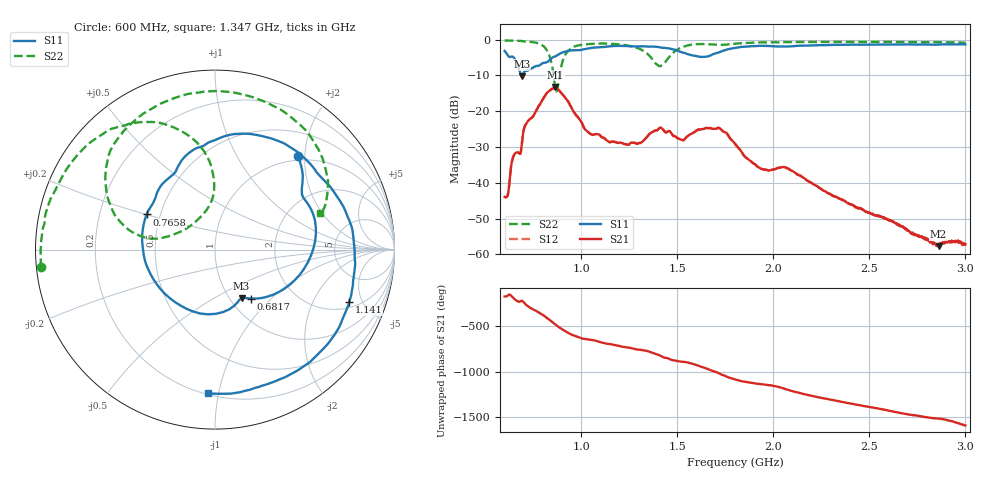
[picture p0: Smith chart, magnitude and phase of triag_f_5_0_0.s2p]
#  HZ  S  RI  R  50.00
! Rohde & Schwarz ZVB8 2Ports - Version 2.81 - 1145.1010k08 SN: 100113
! Date: 2016-05-03 01:37:25
! Measurements: S11 S21 S12 S22
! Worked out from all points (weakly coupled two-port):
!   1000 points, 600 MHz to 3 GHz, reference 50 ohm
!   highest |S21| = -13.24 dB at 864.3 MHz (marker M1); lowest = -57.7 dB at 2.861 GHz (marker M2)
!   lowest |S11| = -10.2 dB at 688.9 MHz (marker M3), VSWR 1.89, Z = 56.7 - j33.8 ohm
!   |S11| at or under -10 dB: 685.7 MHz to 693 MHz (7.292 MHz wide, 1.06 % of centre)
!   |S22| runs from -14.5 to -0.2 dB; largest |S21 - S12| = 0.0016
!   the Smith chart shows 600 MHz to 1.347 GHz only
!   S11 on the Smith chart (normalised r, x): 600 MHz: 0.92, +1.86; 681.7 MHz: 1.24, -0.76; 765.8 MHz: 0.42, +0.20; 1.141 GHz: 2.36, -3.91; 1.347 GHz: 0.21, -0.93
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6e8  0.4632 0.5197  -0.00633 -0.000654  -0.00635 -0.000677  -0.9691 -0.098
6.48048e8  0.557 0.0424  -0.0232 0.00689  -0.0231 0.00676  -0.9587 0.1213
6.816817e8  0.1998 -0.2725  -0.0166 0.0193  -0.0167 0.0192  -0.9199 0.2728
6.888889e8  0.1483 -0.2701  -0.0249 0.022  -0.0251 0.0216  -0.9037 0.3048
7.297297e8  -0.3433 -0.1647  0.0314 0.0702  0.0301 0.0705  -0.8007 0.4834
7.657658e8  -0.381 0.196  0.0934 0.0444  0.0925 0.0448  -0.6438 0.6326
8.186186e8  -0.2257 0.4263  0.1234 -0.128  0.1237 -0.1271  -0.234 0.6825
8.642643e8  -0.0623 0.5786  -0.1081 -0.1891  -0.1078 -0.1887  -0.0714 0.1907
9.219219e8  0.2742 0.6293  -0.1368 0.0559  -0.137 0.0551  -0.5927 0.2723
1.001201e9  0.6095 0.3844  0.00296 0.0696  0.00251 0.0695  -0.4564 0.7112
1.140541e9  0.7472 -0.294  0.0342 0.016  0.0344 0.016  0.1401 0.8673
1.347147e9  -0.0377 -0.7981  0.0262 -0.0374  0.0264 -0.0372  0.5874 0.2018
1.4e9  -0.2704 -0.7405  -0.00321 -0.0557  -0.00305 -0.0558  0.4063 0.1618
1.484084e9  -0.5213 -0.5035  -0.0409 -0.0188  -0.0407 -0.0188  0.5916 0.3319
1.584985e9  -0.5487 -0.2387  -0.0484 0.0141  -0.0483 0.0141  0.8567 -0.0487
1.801201e9  -0.7474 0.1707  0.0347 -0.00266  0.0345 -0.00254  0.5084 -0.7125
1.981381e9  -0.3627 0.7276  0.00566 -0.0139  0.00577 -0.0137  -0.0363 -0.9157
2.2e9  0.4118 0.7207  -0.00993 0.000638  -0.00985 0.000574  -0.6139 -0.6953
2.404204e9  0.8498 0.0239  -8.53e-05 0.00499  -8.53e-05 0.00497  -0.8903 -0.2657
2.601201e9  0.4983 -0.6947  0.00289 0.000728  0.00298 0.000777  -0.911 0.1824
2.860661e9  -0.4375 -0.7325  0.000338 -0.00126  0.000373 -0.00129  -0.6134 0.6885
3e9  -0.7661 -0.3891  -0.00119 -0.000727  -0.00111 -0.000709  -0.3338 0.8457
